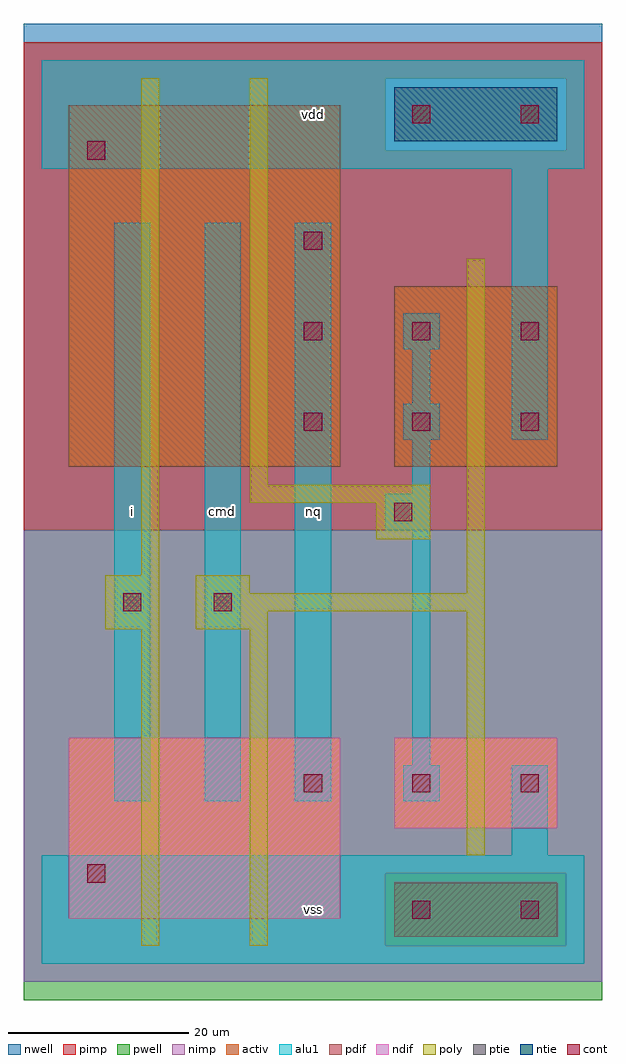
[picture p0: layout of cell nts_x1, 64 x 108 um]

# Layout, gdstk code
import gdstk
lib = gdstk.Library(unit=1e-6, precision=1e-09)
def R(c, l, rs):  # rectangles x0, y0, x1, y1
    for r in rs: c.add(gdstk.rectangle(r[:2], r[2:], *l))
def A(c, l, x, y, w, h, nx, ny, dx, dy):  # array of equal rectangles
    R(c, l, [(x+i*dx, y+j*dy, x+i*dx+w, y+j*dy+h) for i in range(nx) for j in range(ny)])
ndif = (3, 0)
pdif = (4, 0)
ntie = (5, 0)
ptie = (6, 0)
cont = (25, 0)
pwell = (41, 0)
nwell = (42, 0)
activ = (43, 0)
pimp = (44, 0)
nimp = (45, 0)
poly = (46, 0)
alu1 = (49, 0)

nts_x1 = lib.new_cell('nts_x1')
R(nts_x1, ndif, [(3,5,33,25), (39,15,57,25)])
R(nts_x1, pdif, [(3,55,33,95), (39,55,57,75)])
R(nts_x1, ntie, [(39,91,57,97)])
R(nts_x1, ptie, [(39,3,57,9)])
A(nts_x1, cont, 29, 19, 2, 2, 3, 2, 12, 40)
A(nts_x1, cont, 29, 69, 2, 2, 3, 1, 12, 0)
R(nts_x1, cont, [(41,5,43,7), (53,5,55,7), (5,9,7,11), (9,39,11,41), (19,39,21,41), (39,49,41,51), (29,79,31,81), (5,89,7,91), (41,93,43,95), (53,93,55,95)])
R(nts_x1, pwell, [(-2,-4,62,48)])
R(nts_x1, nwell, [(-2,48,62,104)])
R(nts_x1, activ, [(39,3,57,9), (3,5,33,25), (39,15,57,25), (3,55,33,95), (39,55,57,75), (39,91,57,97)])
R(nts_x1, pimp, [(38,2,58,10), (-2,48,62,90), (-2,90,38,98), (58,90,62,98), (-2,98,62,102)])
R(nts_x1, nimp, [(-2,-2,62,2), (-2,2,38,10), (58,2,62,10), (-2,10,62,48), (38,90,58,98)])
R(nts_x1, poly, [(11,2,13,37), (23,2,25,37), (47,12,49,39), (7,37,13,43), (17,37,25,39), (17,39,49,41), (17,41,23,43), (47,41,49,78), (11,43,13,98), (37,47,43,51), (23,51,43,53), (23,53,25,98)])
A(nts_x1, alu1, 8, 18, 4, 64, 3, 1, 10, 0)
R(nts_x1, alu1, [(0,0,60,12), (52,12,56,22), (40,18,44,22), (41,22,43,48), (38,48,43,52), (41,52,43,58), (40,58,44,62), (52,58,56,88), (41,62,43,68), (40,68,44,72), (0,88,60,100)])
nts_x1.add(gdstk.Label('i', (10,50), layer=49, texttype=0))
nts_x1.add(gdstk.Label('cmd', (20,50), layer=49, texttype=0))
nts_x1.add(gdstk.Label('vss', (30,6), layer=49, texttype=0))
nts_x1.add(gdstk.Label('nq', (30,50), layer=49, texttype=0))
nts_x1.add(gdstk.Label('vdd', (30,94), layer=49, texttype=0))

lib.write_gds('nts_x1.gds')
